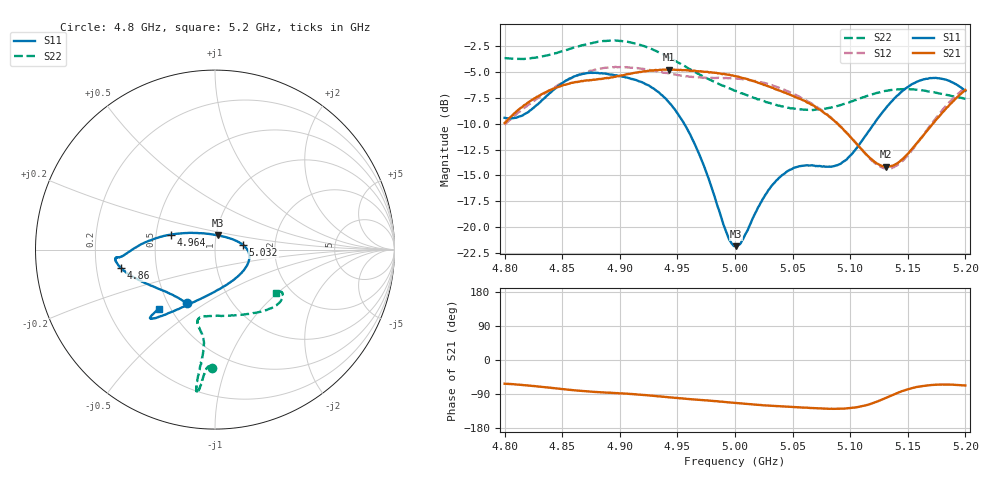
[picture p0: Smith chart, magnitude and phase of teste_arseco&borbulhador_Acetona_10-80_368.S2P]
! Network Analyzer HP8722D
! Hewlett-Packard
! Data name: Linha & Wilkinson
! Saver's name: Rodrigo Anjos
! Comments: Teste da utilização de aquisição
! continua pelo VNA HP8722D
! Time and date: 17/4/2025 17:25
!  Frequency  S11  S21  S12  S22
# HZ  S  MA R 50
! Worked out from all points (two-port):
!   401 points, 4.8 GHz to 5.2 GHz, reference 50 ohm
!   highest |S21| = -4.75 dB at 4.943 GHz (marker M1); lowest = -14.2 dB at 5.131 GHz (marker M2)
!   |S21| within 3 dB of the highest: 4.823 GHz to 5.06 GHz (236.7 MHz wide, 4.79 % of centre); 5.190035 GHz to end of sweep
!   lowest |S11| = -21.8 dB at 5.001 GHz (marker M3), VSWR 1.18, Z = 51.1 + j8.14 ohm
!   |S11| at or under -10 dB: 4.956 GHz to 5.121 GHz (164.8 MHz wide, 3.27 % of centre)
!   |S22| runs from -8.7 to -1.9 dB; largest |S21 - S12| = 0.87
!   S11 on the Smith chart (normalised r, x): 4.8 GHz: 0.62, -0.42; 4.86 GHz: 0.31, -0.09; 4.964 GHz: 0.60, +0.11; 5.032 GHz: 1.37, +0.07; 5.2 GHz: 0.43, -0.36
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4.8e9  0.338 -117.5  0.319 -62.6  0.313 -176.8  0.6573 -91.6
4.818e9  0.3536 -136.7  0.3915 -66.6  0.3812 -176.5  0.6523 -93.2
4.86e9  0.535 -169.0  0.5006 -79.8  0.5329 -180.0  0.7385 -95.6
4.867e9  0.5497 -171.7  0.5095 -81.8  0.5527 178.8  0.7582 -95.9
4.898e9  0.5403 -175.5  0.5382 -87.3  0.5938 173.0  0.7978 -97.2
4.934e9  0.4481 178.9  0.5757 -96.0  0.5663 169.6  0.6995 -97.5
4.943e9  0.3994 174.9  0.5787 -98.5  0.5539 169.8  0.6604 -97.3
4.964e9  0.2597 161.3  0.5707 -104.1  0.5328 171.7  0.5672 -96.6
4.993e9  0.09297 110.5  0.5469 -111.3  0.5262 173.8  0.4743 -98.9
5e9  0.08122 82.4  0.5381 -113.4  0.5238 173.9  0.457 -100.1
5.001e9  0.08096 77.9  0.5372 -113.5  0.5241 173.9  0.4553 -100.5
5.006e9  0.08616 58.6  0.5269 -114.9  0.5199 173.7  0.4446 -101.6
5.032e9  0.1589 9.3  0.4725 -120.9  0.4864 172.8  0.3959 -103.3
5.049e9  0.1904 -6.6  0.4337 -123.5  0.4468 172.1  0.375 -98.4
5.067e9  0.1993 -26.1  0.3898 -126.8  0.395 172.0  0.3687 -88.1
5.096e9  0.2109 -76.4  0.2893 -127.9  0.2898 174.9  0.3968 -65.7
5.119e9  0.3072 -110.6  0.2116 -114.5  0.2094 -169.7  0.4389 -50.6
5.131e9  0.3769 -120.4  0.196 -100.1  0.1922 -153.5  0.4567 -44.7
5.134e9  0.3945 -122.3  0.1969 -96.0  0.1922 -149.1  0.4593 -43.4
5.146e9  0.4587 -127.7  0.2146 -81.2  0.2103 -131.9  0.4654 -38.8
5.168e9  0.5237 -132.7  0.2985 -66.8  0.3023 -113.2  0.453 -33.6
5.2e9  0.4557 -133.6  0.461 -67.3  0.4719 -109.5  0.417 -35.2
